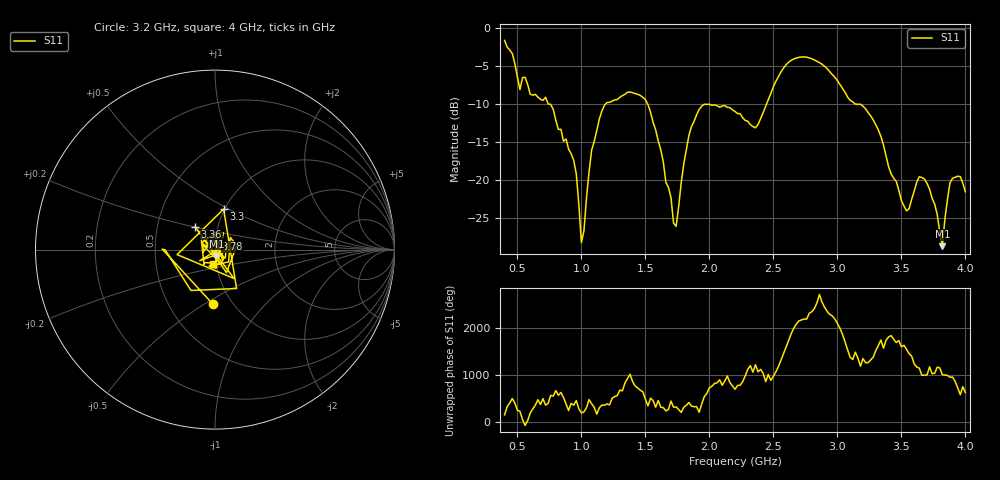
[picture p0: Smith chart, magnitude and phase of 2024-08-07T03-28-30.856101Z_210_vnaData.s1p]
!Created with skrf (http://scikit-rf.org).
# Hz S RI R 50.0
!freq ReS11 ImS11
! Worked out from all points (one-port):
!   181 points, 400 MHz to 4 GHz, reference 50 ohm
!   lowest |S11| = -28.7 dB at 3.82 GHz (marker M1), VSWR 1.08, Z = 50.6 - j3.63 ohm
!   |S11| at or under -10 dB: 742.7 MHz to 1.19 GHz (447 MHz wide, 46.3 % of centre); 1.517 GHz to 2.447 GHz (929.7 MHz wide, 46.9 % of centre); 3.139 GHz to end of sweep
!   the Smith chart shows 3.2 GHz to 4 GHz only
!   S11 on the Smith chart (normalised r, x): 3.2 GHz: 0.81, -0.55; 3.3 GHz: 0.99, +0.47; 3.36 GHz: 0.78, +0.21; 3.78 GHz: 1.00, +0.12; 4 GHz: 0.97, -0.16
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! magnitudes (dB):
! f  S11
! 400 MHz  -1.6
! 520 MHz  -8.1
! 720 MHz  -9.1
! 860 MHz  -14.9
! 960 MHz  -19.2
! 1 GHz  -28.3
! 1.08 GHz  -16.1
! 1.14 GHz  -12.0
! 1.3 GHz  -9.1
! 1.5 GHz  -9.4
! 1.62 GHz  -16.0
! 1.72 GHz  -25.7
! 1.76 GHz  -23.5
! 1.84 GHz  -14.1
! 1.92 GHz  -10.7
! 2.2 GHz  -11.0
! 2.36 GHz  -13.1
! 2.66 GHz  -4.1
! 3.1 GHz  -9.5
! 3.2 GHz  -10.3
! 3.3 GHz  -12.7
! 3.36 GHz  -15.4
! 3.56 GHz  -23.8
! 3.64 GHz  -19.6
! 3.78 GHz  -24.6
! 3.82 GHz  -28.7
! 3.88 GHz  -20.4
! 4 GHz  -21.6
